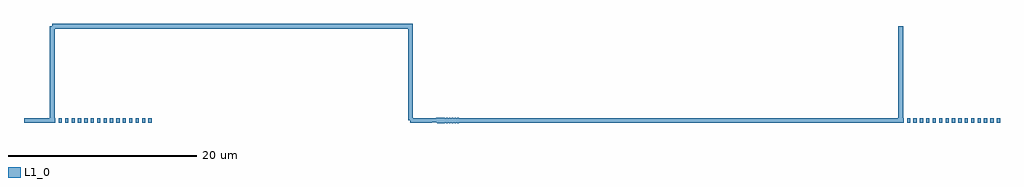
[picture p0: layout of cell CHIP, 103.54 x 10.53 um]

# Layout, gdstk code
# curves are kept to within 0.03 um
import gdstk
lib = gdstk.Library(unit=1e-6, precision=1e-09)
def R(c, l, rs):  # rectangles x0, y0, x1, y1
    for r in rs: c.add(gdstk.rectangle(r[:2], r[2:], *l))
def A(c, l, x, y, w, h, nx, ny, dx, dy):  # array of equal rectangles
    R(c, l, [(x+i*dx, y+j*dy, x+i*dx+w, y+j*dy+h) for i in range(nx) for j in range(ny)])
def P(c, l, *ps):  # polygons
    for p in ps: c.add(gdstk.Polygon(p, *l))
L1_0 = (1, 0)

chip = lib.new_cell('CHIP')
A(chip, L1_0, 41.5, -0.28, 0.145, 0.56, 6, 1, 0.295, 0)
A(chip, L1_0, 0, -0.25, 0.34, 0.5, 16, 1, 0.68, 0)
A(chip, L1_0, 90, -0.25, 0.34, 0.5, 16, 1, 0.68, 0)
A(chip, L1_0, 41.645, -0.22, 0.15, 0.44, 6, 1, 0.295, 0)
P(chip, L1_0, [(40,0.25),(41.5,0.28),(41.5,-0.28),(40,-0.25)],
  [(43.27,0.22),(44.77,0.25),(44.77,-0.25),(43.27,-0.22)])
chip.add(gdstk.FlexPath([(0,0),(0,10)], 0.5, ends="flush", simple_path=True, layer=1, datatype=0))  # L1_0
chip.add(gdstk.FlexPath([(90,0),(90,10)], 0.5, ends="flush", simple_path=True, layer=1, datatype=0))  # L1_0
chip.add(gdstk.FlexPath([(38,0),(40,0)], 0.5, ends="flush", simple_path=True, layer=1, datatype=0))  # L1_0
chip.add(gdstk.FlexPath([(44.77,0),(46.77,0)], 0.5, ends="flush", simple_path=True, layer=1, datatype=0))  # L1_0
chip.add(gdstk.FlexPath([(0,10),(38,10),(38,0)], 0.5, ends="flush", simple_path=True, layer=1, datatype=0))  # L1_0
chip.add(gdstk.FlexPath([(46.77,0),(90,0),(90,10)], 0.5, ends="flush", simple_path=True, layer=1, datatype=0))  # L1_0
chip.add(gdstk.FlexPath([(-3,0),(0,0)], 0.5, ends="flush", simple_path=True, layer=1, datatype=0))  # L1_0
chip.add(gdstk.FlexPath([(87,0),(90,0)], 0.5, ends="flush", simple_path=True, layer=1, datatype=0))  # L1_0

lib.write_gds('CHIP.gds')
